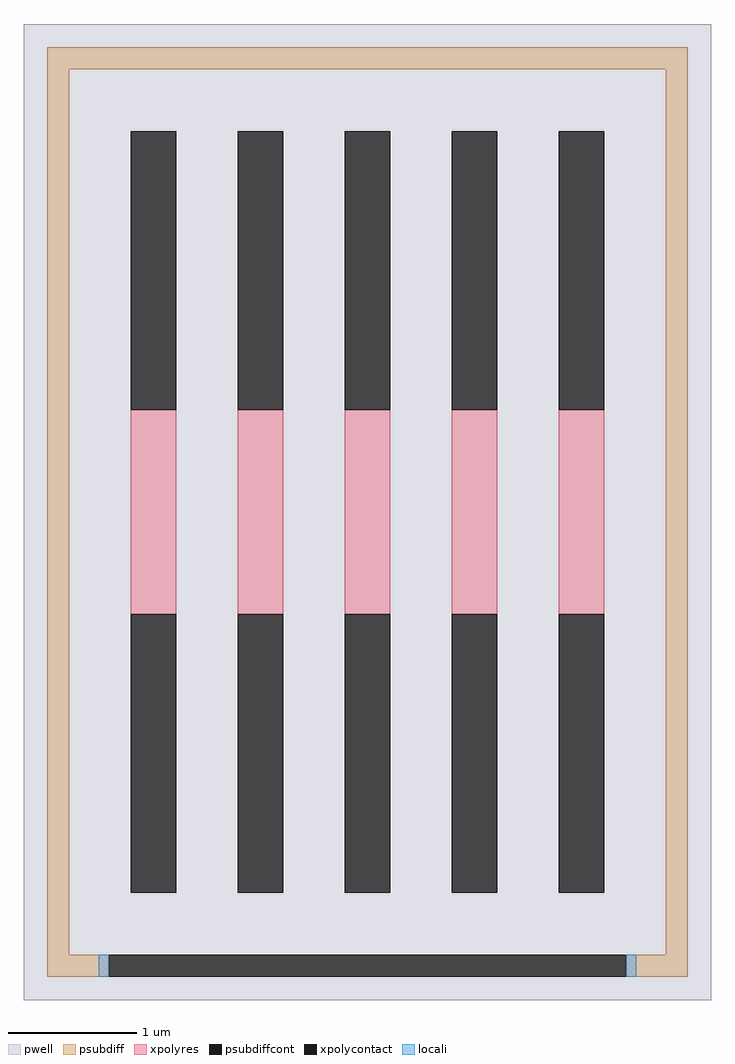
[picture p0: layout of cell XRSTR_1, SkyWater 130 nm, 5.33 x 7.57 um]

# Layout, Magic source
magic
tech sky130A
magscale 1 2
<< pwell >>
rect -533 -757 533 757
<< psubdiff >>
rect -497 687 497 721
rect -497 -687 -463 687
rect 463 -687 497 687
rect -497 -721 -401 -687
rect 401 -721 497 -687
<< psubdiffcont >>
rect -401 -721 401 -687
<< xpolycontact >>
rect -367 159 -297 591
rect -367 -591 -297 -159
rect -201 159 -131 591
rect -201 -591 -131 -159
rect -35 159 35 591
rect -35 -591 35 -159
rect 131 159 201 591
rect 131 -591 201 -159
rect 297 159 367 591
rect 297 -591 367 -159
<< xpolyres >>
rect -367 -159 -297 159
rect -201 -159 -131 159
rect -35 -159 35 159
rect 131 -159 201 159
rect 297 -159 367 159
<< locali >>
rect -417 -721 -401 -687
rect 401 -721 417 -687
<< properties >>
string FIXED_BBOX -480 -704 480 704
<< end >>
